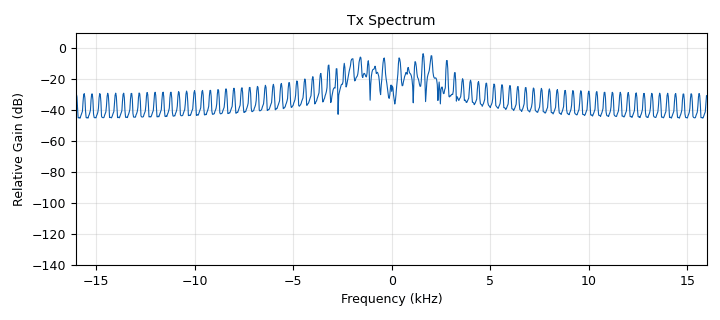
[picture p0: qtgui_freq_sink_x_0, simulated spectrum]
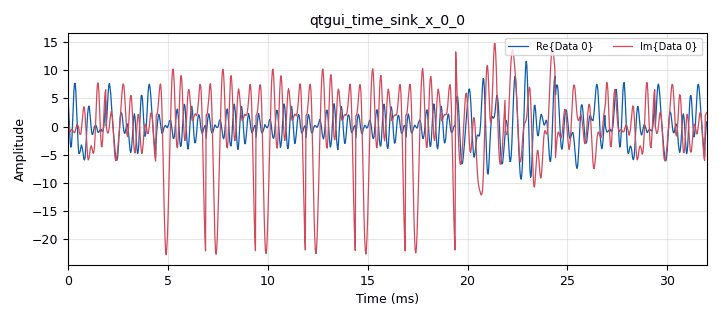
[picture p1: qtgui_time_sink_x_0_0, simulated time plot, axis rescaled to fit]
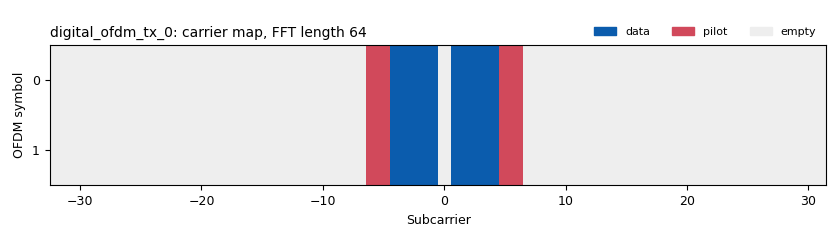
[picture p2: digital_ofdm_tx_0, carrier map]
options:
  parameters:
    generate_options: qt_gui
    id: First_GNU_File
    output_language: python
    title: First_GNU_File
  states: {}

blocks:
- name: fft_len
  id: variable
  parameters:
    value: '64'
  states: {}
- name: len_tag_key
  id: variable
  parameters:
    value: '50'
  states: {}
- name: packet_len
  id: variable
  parameters:
    value: '50'
  states: {}
- name: samp_rate
  id: variable
  parameters:
    value: '32000'
  states: {}
- name: blocks_stream_to_tagged_stream_0
  id: blocks_stream_to_tagged_stream
  parameters:
    len_tag_key: '"len_tag_key"'
    packet_len: '12'
    type: byte
  states: {}
- name: blocks_throttle_0
  id: blocks_throttle
  parameters:
    samples_per_second: samp_rate
    type: byte
  states: {}
- name: blocks_vector_sink_x_0
  id: blocks_vector_sink_x
  parameters:
    type: byte
  states: {}
- name: blocks_vector_source_x_0
  id: blocks_vector_source_x
  parameters:
    repeat: 'True'
    type: byte
    vector: (0, 0, 0)
  states: {}
- name: channels_channel_model_0
  id: channels_channel_model
  parameters:
    epsilon: '1.0'
    freq_offset: '0.0'
    noise_voltage: '0.1'
    seed: '0'
    taps: 1.0 + 1.0j
  states: {}
- name: digital_ofdm_rx_0
  id: digital_ofdm_rx
  parameters:
    cp_len: fft_len//4
    fft_len: fft_len
    header_mod: '"BPSK"'
    occupied_carriers: ((-4,-3,-2,-1,1,2,3,4),)
    packet_len_key: '"packet_len"'
    payload_mod: '"QPSK"'
    pilot_carriers: ((-6,-5,5,6),)
    pilot_symbols: ((-1,1,-1,1),)
    sync_word1: None
    sync_word2: None
  states: {}
- name: digital_ofdm_tx_0
  id: digital_ofdm_tx
  parameters:
    cp_len: fft_len//4
    fft_len: fft_len
    header_mod: '"BPSK"'
    occupied_carriers: ((-4,-3,-2,-1,1,2,3,4),)
    packet_len_key: '"len_tag_key"'
    payload_mod: '"QPSK"'
    pilot_carriers: ((-6,-5,5,6),)
    pilot_symbols: ((-1,1,-1,1),)
    rolloff: '0'
    sync_word1: None
    sync_word2: None
  states: {}
- name: qtgui_freq_sink_x_0
  id: qtgui_freq_sink_x
  parameters:
    bw: samp_rate
    fc: '0'
    fftsize: '1024'
    name: '"Tx Spectrum"'
    type: complex
  states: {}
- name: qtgui_time_sink_x_0_0
  id: qtgui_time_sink_x
  parameters:
    size: '1024'
    srate: samp_rate
    type: complex
  states: {}

connections:
- [blocks_stream_to_tagged_stream_0, '0', digital_ofdm_tx_0, '0']
- [blocks_throttle_0, '0', blocks_stream_to_tagged_stream_0, '0']
- [blocks_vector_source_x_0, '0', blocks_throttle_0, '0']
- [channels_channel_model_0, '0', digital_ofdm_rx_0, '0']
- [channels_channel_model_0, '0', qtgui_time_sink_x_0_0, '0']
- [digital_ofdm_rx_0, '0', blocks_vector_sink_x_0, '0']
- [digital_ofdm_tx_0, '0', channels_channel_model_0, '0']
- [digital_ofdm_tx_0, '0', qtgui_freq_sink_x_0, '0']

metadata:
  file_format: 1
  grc_version: 3.10.4.0
